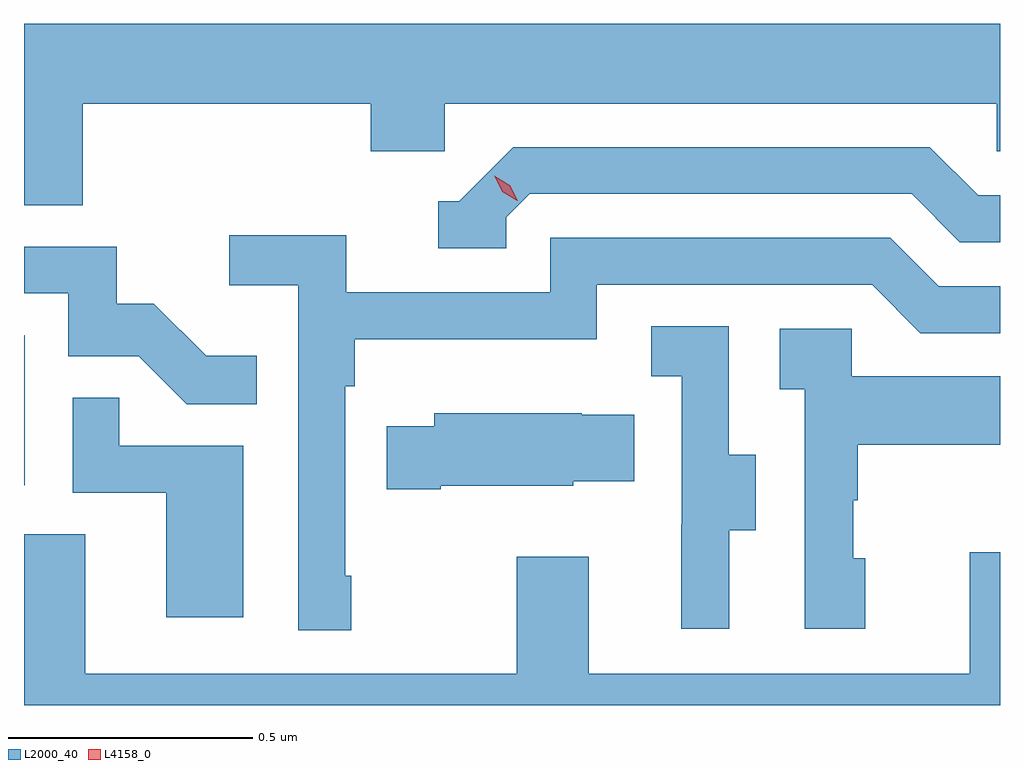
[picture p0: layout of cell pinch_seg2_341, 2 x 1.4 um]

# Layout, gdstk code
import gdstk
lib = gdstk.Library(unit=1e-6, precision=1e-09)
def R(c, l, rs):  # rectangles x0, y0, x1, y1
    for r in rs: c.add(gdstk.rectangle(r[:2], r[2:], *l))
def P(c, l, *ps):  # polygons
    for p in ps: c.add(gdstk.Polygon(p, *l))
L2000_40 = (2000, 40)
L4158_0 = (4158, 0)

pinch_seg2_341 = lib.new_cell('pinch_seg2_341')
R(pinch_seg2_341, L2000_40, [(1000.202,641.526,1000.204,641.833)])
P(pinch_seg2_341, L2000_40, [(1000.322,642.308),(1000.913,642.308),(1000.913,642.21),(1001.064,642.21),(1001.064,642.308),(1002.195,642.308),(1002.195,642.21),(1002.202,642.21),(1002.202,642.472),(1000.202,642.472),(1000.202,642.1),(1000.322,642.1)],
  [(1001.19,642.075),(1001.238,642.123),(1002.021,642.123),(1002.12,642.024),(1002.202,642.024),(1002.202,642.12),(1002.157,642.12),(1002.058,642.219),(1001.205,642.219),(1001.094,642.108),(1001.051,642.108),(1001.051,642.012),(1001.19,642.012)],
  [(1000.873,641.341),(1000.86,641.341),(1000.86,641.729),(1000.88,641.729),(1000.88,641.825),(1001.376,641.825),(1001.376,641.937),(1001.94,641.937),(1002.039,641.838),(1002.202,641.838),(1002.202,641.934),(1002.076,641.934),(1001.977,642.033),(1001.28,642.033),(1001.28,641.922),(1000.862,641.922),(1000.862,642.038),(1000.623,642.038),(1000.623,641.936),(1000.764,641.936),(1000.764,641.229),(1000.873,641.229)],
  [(1000.679,641.791),(1000.575,641.791),(1000.468,641.898),(1000.392,641.898),(1000.392,642.015),(1000.202,642.015),(1000.202,641.919),(1000.293,641.919),(1000.293,641.79),(1000.437,641.79),(1000.535,641.692),(1000.679,641.692)],
  [(1001.647,641.434),(1001.701,641.434),(1001.701,641.589),(1001.646,641.589),(1001.646,641.852),(1001.487,641.852),(1001.487,641.749),(1001.55,641.749),(1001.55,641.445),(1001.549,641.445),(1001.549,641.232),(1001.647,641.232)],
  [(1001.926,641.376),(1001.901,641.376),(1001.901,641.495),(1001.911,641.495),(1001.911,641.609),(1002.202,641.609),(1002.202,641.749),(1001.898,641.749),(1001.898,641.847),(1001.751,641.847),(1001.751,641.723),(1001.802,641.723),(1001.802,641.232),(1001.926,641.232)],
  [(1000.651,641.607),(1000.397,641.607),(1000.397,641.705),(1000.302,641.705),(1000.302,641.511),(1000.493,641.511),(1000.493,641.256),(1000.651,641.256)],
  [(1001.056,641.525),(1001.328,641.525),(1001.328,641.534),(1001.453,641.534),(1001.453,641.671),(1001.345,641.671),(1001.345,641.674),(1001.043,641.674),(1001.043,641.647),(1000.945,641.647),(1000.945,641.518),(1001.056,641.518)],
  [(1002.202,641.389),(1002.14,641.389),(1002.14,641.14),(1001.359,641.14),(1001.359,641.38),(1001.212,641.38),(1001.212,641.14),(1000.327,641.14),(1000.327,641.426),(1000.202,641.426),(1000.202,641.075),(1002.202,641.075)])
P(pinch_seg2_341, L4158_0, [(1001.213,642.109),(1001.182,642.128),(1001.166,642.16),(1001.166,642.16),(1001.166,642.16),(1001.197,642.141),(1001.214,642.109),(1001.214,642.109)])

lib.write_gds('pinch_seg2_341.gds')
